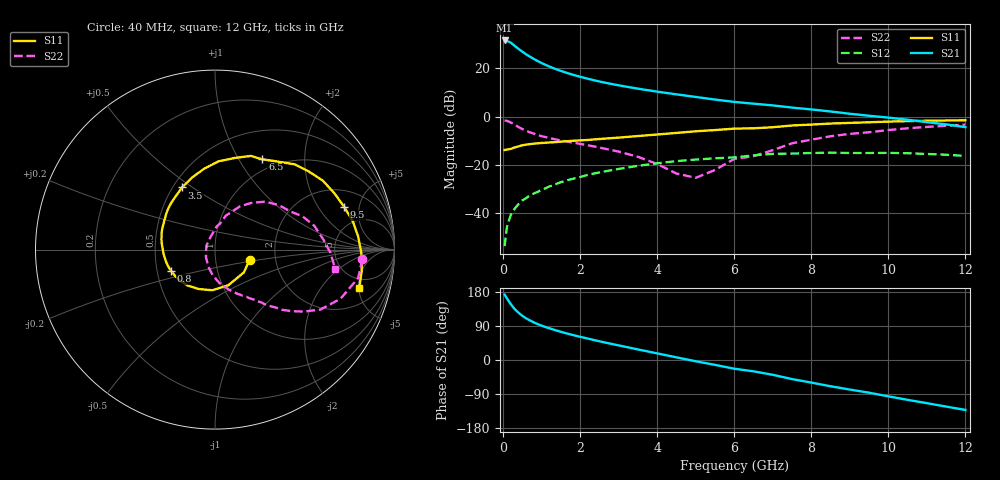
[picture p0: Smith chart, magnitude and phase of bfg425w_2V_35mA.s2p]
! Filename: 235bfg425.001
! BFG425W Field C1
! V1=8.753E-001V,V2=2.000E+000V, I1=5.354E-004A, I2=3.494E-002A
# GHz  S  MA  R 50
!  S11  S21  S12  S22
!Freq(GHz)  Mag  Ang  Mag  Ang  Mag  Ang  Mag  Ang
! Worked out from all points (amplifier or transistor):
!   44 points, 40 MHz to 12 GHz, reference 50 ohm
!   highest |S21| = 31.7 dB at 40 MHz (marker M1)
!   |S21| within 3 dB of that: start of sweep to 361.6 MHz
!   unconditionally stable (mu >= 1): start of sweep to 89.16 MHz; 742.6 MHz to end of sweep
!   at 700 MHz: K = 0.98, MSG = 28.8 dB, |S12| = -32.8 dB
!   at 2.4 GHz: K = 1.25, MAG = 16.3 dB, |S12| = -23.6 dB
!   at 12 GHz: K = 1.40, MAG = 2.2 dB, |S12| = -16.4 dB
!   S11 on the Smith chart (normalised r, x): 40 MHz: 1.47, -0.17; 800 MHz: 0.59, -0.15; 3.5 GHz: 0.56, +0.45; 6.5 GHz: 0.85, +1.27; 9.5 GHz: 3.14, +3.52; 12 GHz: 3.59, -5.06
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0.04  0.201 -16.5  38.26 172.6  0.002 72.0  0.823 -3.6
0.1  0.205 -38.4  37.57 162.7  0.005 79.2  0.813 -11.2
0.2  0.212 -69.4  34.45 147.2  0.009 72.5  0.751 -21.4
0.3  0.227 -93.9  29.61 134.7  0.012 69.6  0.676 -29.6
0.4  0.238 -112.9  25.63 124.9  0.015 66.8  0.604 -34.9
0.5  0.252 -127.5  22.34 116.5  0.018 64.9  0.55 -38.6
0.6  0.26 -138.2  19.66 109.9  0.02 64.1  0.504 -41.8
0.7  0.266 -146.5  17.54 104.3  0.023 63.3  0.466 -43.8
0.8  0.272 -154.0  15.74 99.1  0.025 62.9  0.439 -45.8
1  0.281 -166.1  12.97 90.8  0.03 61.6  0.39 -48.8
1.3  0.291 179.9  10.2 80.5  0.037 59.4  0.343 -53.2
1.7  0.307 165.7  7.885 68.8  0.048 55.9  0.297 -59.6
2.2  0.325 150.4  6.109 56.6  0.061 50.1  0.252 -67.6
2.8  0.354 134.5  4.776 42.8  0.076 42.2  0.201 -78.9
3.5  0.392 118.0  3.794 27.9  0.094 32.1  0.145 -94.7
4.5  0.455 97.6  2.891 7.0  0.118 16.6  0.065 -141.0
5.5  0.522 77.9  2.253 -12.8  0.135 0.7  0.077 107.7
6.5  0.568 62.3  1.848 -29.9  0.155 -12.2  0.149 78.8
8.5  0.713 32.7  1.272 -69.3  0.177 -48.4  0.388 43.5
9.5  0.758 18.3  1.036 -86.3  0.174 -64.5  0.47 26.9
10.5  0.801 5.3  0.857 -105.2  0.172 -82.4  0.569 13.5
12  0.832 -15.1  0.6 -131.8  0.151 -111.0  0.678 -9.0
